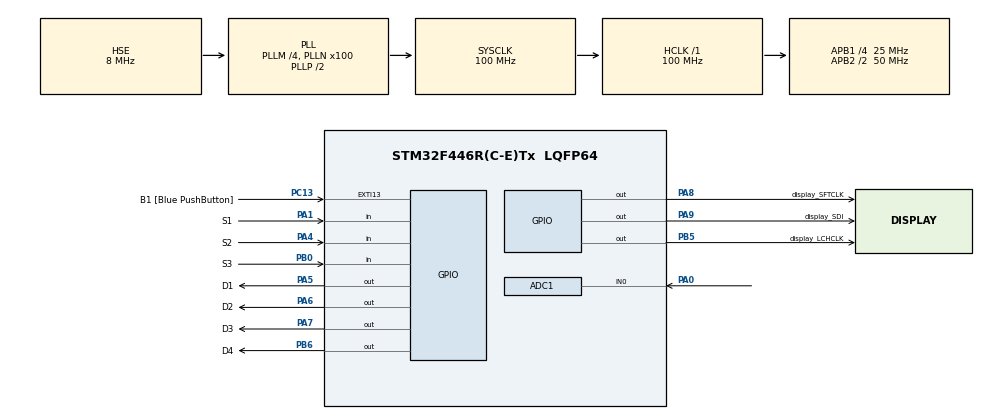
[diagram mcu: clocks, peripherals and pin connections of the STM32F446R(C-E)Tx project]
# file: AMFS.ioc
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ADC1.Channel-0\#ChannelRegularConversion=ADC_CHANNEL_0
ADC1.NbrOfConversionFlag=1
ADC1.Rank-0\#ChannelRegularConversion=1
ADC1.SamplingTime-0\#ChannelRegularConversion=ADC_SAMPLETIME_3CYCLES
ADC1.master=1
Mcu.Family=STM32F4
Mcu.Name=STM32F446R(C-E)Tx
Mcu.Package=LQFP64
Mcu.UserConstants=TM6_PRESCALER,50;TM6_PERIOD,1000
NVIC.PriorityGroup=NVIC_PRIORITYGROUP_0
NVIC.TIM6_DAC_IRQn=true\:0\:0\:false\:false\:true\:true\:true
NVIC.TIM8_UP_TIM13_IRQn=true\:0\:0\:false\:false\:true\:true\:true
PA0-WKUP.Signal=ADCx_IN0
PA1.GPIO_Label=S1
PA1.Signal=GPIO_Input
PA13.GPIO_Label=TMS
PA13.Mode=Serial_Wire
PA13.Signal=SYS_JTMS-SWDIO
PA14.GPIO_Label=TCK
PA14.Mode=Serial_Wire
PA14.Signal=SYS_JTCK-SWCLK
PA2.GPIO_Label=USART_TX
PA2.Signal=USART2_TX
PA3.GPIO_Label=USART_RX
PA3.Signal=USART2_RX
PA4.GPIO_Label=S2
PA4.Signal=GPIO_Input
PA5.GPIO_Label=D1
PA5.PinState=GPIO_PIN_SET
PA5.Signal=GPIO_Output
PA6.GPIO_Label=D2
PA6.PinState=GPIO_PIN_SET
PA6.Signal=GPIO_Output
PA7.GPIO_Label=D3
PA7.PinState=GPIO_PIN_SET
PA7.Signal=GPIO_Output
PA8.GPIO_Label=display_SFTCLK
PA8.Signal=GPIO_Output
PA9.GPIO_Label=display_SDI
PA9.Signal=GPIO_Output
PB0.GPIO_Label=S3
PB0.Signal=GPIO_Input
PB3.Signal=SYS_JTDO-SWO
PB5.GPIO_Label=display_LCHCLK
PB5.Signal=GPIO_Output
PB6.GPIO_Label=D4
PB6.PinState=GPIO_PIN_SET
PB6.Signal=GPIO_Output
PC13.GPIO_Label=B1 [Blue PushButton]
PC13.GPIO_ModeDefaultEXTI=GPIO_MODE_IT_FALLING
PC13.Signal=GPXTI13
PC14-OSC32_IN.Signal=RCC_OSC32_IN
PC15-OSC32_OUT.Signal=RCC_OSC32_OUT
PH0-OSC_IN.Mode=HSE-External-Clock-Source
PH0-OSC_IN.Signal=RCC_OSC_IN
PH1-OSC_OUT.Mode=HSE-External-Clock-Source
PH1-OSC_OUT.Signal=RCC_OSC_OUT
ProjectManager.HeapSize=0x200
ProjectManager.StackSize=0x400
ProjectManager.TargetToolchain=STM32CubeIDE
RCC.AHBFreq_Value=100000000
RCC.APB1CLKDivider=RCC_HCLK_DIV4
RCC.APB1Freq_Value=25000000
RCC.APB1TimFreq_Value=50000000
RCC.APB2CLKDivider=RCC_HCLK_DIV2
RCC.APB2Freq_Value=50000000
RCC.APB2TimFreq_Value=100000000
RCC.CortexFreq_Value=100000000
RCC.FLatency-AdvancedSettings=FLASH_LATENCY_3
RCC.HCLKFreq_Value=100000000
RCC.HSE_VALUE=8000000
RCC.HSI_VALUE=16000000
RCC.LSE_VALUE=32768
RCC.PLLM=4
RCC.PLLN=100
RCC.PLLSourceVirtual=RCC_PLLSOURCE_HSE
RCC.SYSCLKFreq_VALUE=100000000
RCC.SYSCLKSource=RCC_SYSCLKSOURCE_PLLCLK
RCC.USBFreq_Value=100000000
RCC.VCOOutputFreq_Value=200000000
SH.ADCx_IN0.0=ADC1_IN0,IN0
TIM13.AutoReloadPreload=TIM_AUTORELOAD_PRELOAD_ENABLE
TIM13.Period=20000
TIM13.Prescaler=9
TIM14.AutoReloadPreload=TIM_AUTORELOAD_PRELOAD_ENABLE
TIM6.AutoReloadPreload=TIM_AUTORELOAD_PRELOAD_ENABLE
TIM6.Period=TM6_PERIOD
TIM6.Prescaler=TM6_PRESCALER
VP_TIM13_VS_ClockSourceINT.Mode=Enable_Timer
VP_TIM14_VS_ClockSourceINT.Mode=Enable_Timer
VP_TIM6_VS_ClockSourceINT.Mode=Enable_Timer
board=NUCLEO-F446RE

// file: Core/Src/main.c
/* USER CODE BEGIN Header */
/**
  ******************************************************************************
  * @file           : main.c
  * @brief          : Main program body
  ******************************************************************************
  * @attention
  *
  * Copyright (c) 2022 STMicroelectronics.
  * All rights reserved.
  *
  * This software is licensed under terms that can be found in the LICENSE file
  * in the root directory of this software component.
  * If no LICENSE file comes with this software, it is provided AS-IS.
  *
  ******************************************************************************
  */
/* USER CODE END Header */
#include "main.h"

/* USER CODE BEGIN Includes */
#include "e2s_AMFS.h"
/* USER CODE END Includes */

ADC_HandleTypeDef hadc1;

TIM_HandleTypeDef htim6;
TIM_HandleTypeDef htim13;
TIM_HandleTypeDef htim14;

/* USER CODE BEGIN PV */
extern uint16_t tim6IntCounter;
extern uint8_t updateAMFS;
extern const uint8_t NUMBERS[10];
extern const uint8_t DIGITS[4];

AMFS_Type AMFS = {0};

uint16_t tim6IntCounter = 0;
uint32_t LEDTickCounter = 0;

uint8_t updateAMFS = 0;

// Just for debugging or testing
uint16_t testValue = 0;
/* USER CODE END PV */

void SystemClock_Config(void);
static void MX_GPIO_Init(void);
static void MX_ADC1_Init(void);
static void MX_TIM6_Init(void);
static void MX_TIM13_Init(void);
static void MX_TIM14_Init(void);

int main(void)
{

  /* MCU Configuration--------------------------------------------------------*/

  /* Reset of all peripherals, Initializes the Flash interface and the Systick. */
  HAL_Init();

  /* Configure the system clock */
  SystemClock_Config();

  /* Initialize all configured peripherals */
  MX_GPIO_Init();
  MX_ADC1_Init();
  MX_TIM6_Init();
  MX_TIM13_Init();
  MX_TIM14_Init();
  /* USER CODE BEGIN 2 */
  HAL_TIM_Base_Start_IT(&htim6);

  // Initialize timer used to update Arduino Multi-functional Shield.
  HAL_TIM_Base_Start_IT(&htim13);

  // Initialize AMFS structure
  AMFS.delayTimer = &htim14;
  AMFS.update7SDFlag = 0;

  // Initialize Arduino Mutifunctional Shield.
  AMFSInit(&AMFS);

//  uint16_t count = 0;
//  uint16_t i = 0;

  /* USER CODE END 2 */

  /* Infinite loop */
  /* USER CODE BEGIN WHILE */
  while (1)
  {
	  if (AMFS.update7SDFlag)
	  {
//		  if (AMFS.digitValueIndex > 9)
//			  AMFS.digitValueIndex = 0;
//
//		  writeDigit(NUMBERS[AMFS.digitValueIndex], DIGITS[AMFS.digitPositionIndex]);

		  write7SD(testValue);

		  // Reset flag.
		  AMFS.update7SDFlag = 0;
	  }
    /* USER CODE END WHILE */

  }
}

void SystemClock_Config(void)
{
  RCC_OscInitTypeDef RCC_OscInitStruct = {0};
  RCC_ClkInitTypeDef RCC_ClkInitStruct = {0};

  /** Configure the main internal regulator output voltage
  */
  __HAL_RCC_PWR_CLK_ENABLE();
  __HAL_PWR_VOLTAGESCALING_CONFIG(PWR_REGULATOR_VOLTAGE_SCALE3);
  /** Initializes the RCC Oscillators according to the specified parameters
  * in the RCC_OscInitTypeDef structure.
  */
  RCC_OscInitStruct.OscillatorType = RCC_OSCILLATORTYPE_HSE;
  RCC_OscInitStruct.HSEState = RCC_HSE_BYPASS;
  RCC_OscInitStruct.PLL.PLLState = RCC_PLL_ON;
  RCC_OscInitStruct.PLL.PLLSource = RCC_PLLSOURCE_HSE;
  RCC_OscInitStruct.PLL.PLLM = 4;
  RCC_OscInitStruct.PLL.PLLN = 100;
  RCC_OscInitStruct.PLL.PLLP = RCC_PLLP_DIV2;
  RCC_OscInitStruct.PLL.PLLQ = 2;
  RCC_OscInitStruct.PLL.PLLR = 2;
  if (HAL_RCC_OscConfig(&RCC_OscInitStruct) != HAL_OK)
  {
    Error_Handler();
  }
  /** Initializes the CPU, AHB and APB buses clocks
  */
  RCC_ClkInitStruct.ClockType = RCC_CLOCKTYPE_HCLK|RCC_CLOCKTYPE_SYSCLK
                              |RCC_CLOCKTYPE_PCLK1|RCC_CLOCKTYPE_PCLK2;
  RCC_ClkInitStruct.SYSCLKSource = RCC_SYSCLKSOURCE_PLLCLK;
  RCC_ClkInitStruct.AHBCLKDivider = RCC_SYSCLK_DIV1;
  RCC_ClkInitStruct.APB1CLKDivider = RCC_HCLK_DIV4;
  RCC_ClkInitStruct.APB2CLKDivider = RCC_HCLK_DIV2;

  if (HAL_RCC_ClockConfig(&RCC_ClkInitStruct, FLASH_LATENCY_3) != HAL_OK)
  {
    Error_Handler();
  }
}

static void MX_ADC1_Init(void)
{

  ADC_ChannelConfTypeDef sConfig = {0};

  /** Configure the global features of the ADC (Clock, Resolution, Data Alignment and number of conversion)
  */
  hadc1.Instance = ADC1;
  hadc1.Init.ClockPrescaler = ADC_CLOCK_SYNC_PCLK_DIV2;
  hadc1.Init.Resolution = ADC_RESOLUTION_12B;
  hadc1.Init.ScanConvMode = DISABLE;
  hadc1.Init.ContinuousConvMode = DISABLE;
  hadc1.Init.DiscontinuousConvMode = DISABLE;
  hadc1.Init.ExternalTrigConvEdge = ADC_EXTERNALTRIGCONVEDGE_NONE;
  hadc1.Init.ExternalTrigConv = ADC_SOFTWARE_START;
  hadc1.Init.DataAlign = ADC_DATAALIGN_RIGHT;
  hadc1.Init.NbrOfConversion = 1;
  hadc1.Init.DMAContinuousRequests = DISABLE;
  hadc1.Init.EOCSelection = ADC_EOC_SINGLE_CONV;
  if (HAL_ADC_Init(&hadc1) != HAL_OK)
  {
    Error_Handler();
  }
  /** Configure for the selected ADC regular channel its corresponding rank in the sequencer and its sample time.
  */
  sConfig.Channel = ADC_CHANNEL_0;
  sConfig.Rank = 1;
  sConfig.SamplingTime = ADC_SAMPLETIME_3CYCLES;
  if (HAL_ADC_ConfigChannel(&hadc1, &sConfig) != HAL_OK)
  {
    Error_Handler();
  }

}

static void MX_TIM6_Init(void)
{

  TIM_MasterConfigTypeDef sMasterConfig = {0};

  htim6.Instance = TIM6;
  htim6.Init.Prescaler = TM6_PRESCALER;
  htim6.Init.CounterMode = TIM_COUNTERMODE_UP;
  htim6.Init.Period = TM6_PERIOD;
  htim6.Init.AutoReloadPreload = TIM_AUTORELOAD_PRELOAD_ENABLE;
  if (HAL_TIM_Base_Init(&htim6) != HAL_OK)
  {
    Error_Handler();
  }
  sMasterConfig.MasterOutputTrigger = TIM_TRGO_RESET;
  sMasterConfig.MasterSlaveMode = TIM_MASTERSLAVEMODE_DISABLE;
  if (HAL_TIMEx_MasterConfigSynchronization(&htim6, &sMasterConfig) != HAL_OK)
  {
    Error_Handler();
  }

}

static void MX_TIM13_Init(void)
{

  htim13.Instance = TIM13;
  htim13.Init.Prescaler = 9;
  htim13.Init.CounterMode = TIM_COUNTERMODE_UP;
  htim13.Init.Period = 20000;
  htim13.Init.ClockDivision = TIM_CLOCKDIVISION_DIV1;
  htim13.Init.AutoReloadPreload = TIM_AUTORELOAD_PRELOAD_ENABLE;
  if (HAL_TIM_Base_Init(&htim13) != HAL_OK)
  {
    Error_Handler();
  }

}

static void MX_TIM14_Init(void)
{

  htim14.Instance = TIM14;
  htim14.Init.Prescaler = 0;
  htim14.Init.CounterMode = TIM_COUNTERMODE_UP;
  htim14.Init.Period = 65535;
  htim14.Init.ClockDivision = TIM_CLOCKDIVISION_DIV1;
  htim14.Init.AutoReloadPreload = TIM_AUTORELOAD_PRELOAD_ENABLE;
  if (HAL_TIM_Base_Init(&htim14) != HAL_OK)
  {
    Error_Handler();
  }

}

static void MX_GPIO_Init(void)
{
  GPIO_InitTypeDef GPIO_InitStruct = {0};

  /* GPIO Ports Clock Enable */
  __HAL_RCC_GPIOC_CLK_ENABLE();
  __HAL_RCC_GPIOH_CLK_ENABLE();
  __HAL_RCC_GPIOA_CLK_ENABLE();
  __HAL_RCC_GPIOB_CLK_ENABLE();

  /*Configure GPIO pin Output Level */
  HAL_GPIO_WritePin(GPIOA, D1_Pin|D2_Pin|D3_Pin, GPIO_PIN_SET);

  /*Configure GPIO pin Output Level */
  HAL_GPIO_WritePin(GPIOA, display_SFTCLK_Pin|display_SDI_Pin, GPIO_PIN_RESET);

  /*Configure GPIO pin Output Level */
  HAL_GPIO_WritePin(display_LCHCLK_GPIO_Port, display_LCHCLK_Pin, GPIO_PIN_RESET);

  /*Configure GPIO pin Output Level */
  HAL_GPIO_WritePin(D4_GPIO_Port, D4_Pin, GPIO_PIN_SET);

  /*Configure GPIO pin : B1_Pin */
  GPIO_InitStruct.Pin = B1_Pin;
  GPIO_InitStruct.Mode = GPIO_MODE_IT_FALLING;
  GPIO_InitStruct.Pull = GPIO_NOPULL;
  HAL_GPIO_Init(B1_GPIO_Port, &GPIO_InitStruct);

  /*Configure GPIO pins : S1_Pin S2_Pin */
  GPIO_InitStruct.Pin = S1_Pin|S2_Pin;
  GPIO_InitStruct.Mode = GPIO_MODE_INPUT;
  GPIO_InitStruct.Pull = GPIO_NOPULL;
  HAL_GPIO_Init(GPIOA, &GPIO_InitStruct);

  /*Configure GPIO pins : USART_TX_Pin USART_RX_Pin */
  GPIO_InitStruct.Pin = USART_TX_Pin|USART_RX_Pin;
  GPIO_InitStruct.Mode = GPIO_MODE_AF_PP;
  GPIO_InitStruct.Pull = GPIO_NOPULL;
  GPIO_InitStruct.Speed = GPIO_SPEED_FREQ_VERY_HIGH;
  GPIO_InitStruct.Alternate = GPIO_AF7_USART2;
  HAL_GPIO_Init(GPIOA, &GPIO_InitStruct);

  /*Configure GPIO pins : D1_Pin D2_Pin D3_Pin display_SFTCLK_Pin
                           display_SDI_Pin */
  GPIO_InitStruct.Pin = D1_Pin|D2_Pin|D3_Pin|display_SFTCLK_Pin
                          |display_SDI_Pin;
  GPIO_InitStruct.Mode = GPIO_MODE_OUTPUT_PP;
  GPIO_InitStruct.Pull = GPIO_NOPULL;
  GPIO_InitStruct.Speed = GPIO_SPEED_FREQ_LOW;
  HAL_GPIO_Init(GPIOA, &GPIO_InitStruct);

  /*Configure GPIO pin : S3_Pin */
  GPIO_InitStruct.Pin = S3_Pin;
  GPIO_InitStruct.Mode = GPIO_MODE_INPUT;
  GPIO_InitStruct.Pull = GPIO_NOPULL;
  HAL_GPIO_Init(S3_GPIO_Port, &GPIO_InitStruct);

  /*Configure GPIO pins : display_LCHCLK_Pin D4_Pin */
  GPIO_InitStruct.Pin = display_LCHCLK_Pin|D4_Pin;
  GPIO_InitStruct.Mode = GPIO_MODE_OUTPUT_PP;
  GPIO_InitStruct.Pull = GPIO_NOPULL;
  GPIO_InitStruct.Speed = GPIO_SPEED_FREQ_LOW;
  HAL_GPIO_Init(GPIOB, &GPIO_InitStruct);

}

/* USER CODE BEGIN 4 */
/*
 * Callback function execute when timer period elapsed. This function
 * is defined in the driver file as weak.
 */
void HAL_TIM_PeriodElapsedCallback(TIM_HandleTypeDef *htim)
{
  /* Prevent unused argument(s) compilation warning */
  UNUSED(htim);

  /*
   * Verifies that interrupt was generated by timer 6.
   *
   */
  if (htim->Instance == TIM6)
  {
	  tim6IntCounter++;

	  if (tim6IntCounter >= 100)
	  {
		  tim6IntCounter = 0;

		  // Testing purposes.
		  testValue++;

		  if (testValue >= 9999)
			  testValue = 0;
//		  AMFS.digitValueIndex++;
	  }
  }

  // Timer used by the 7 segments display to refresh the data on the screen.
  // Every 4ms an interrupt is generated and the next digit 7 segments display
  // is updated.
  if (htim->Instance == TIM13)
  {
	  // Enable the update of the 7 segments display.
	  update7SD();
  }

}
/* USER CODE END 4 */

void Error_Handler(void)
{
  __disable_irq();
  while (1)
  {
  }
}
